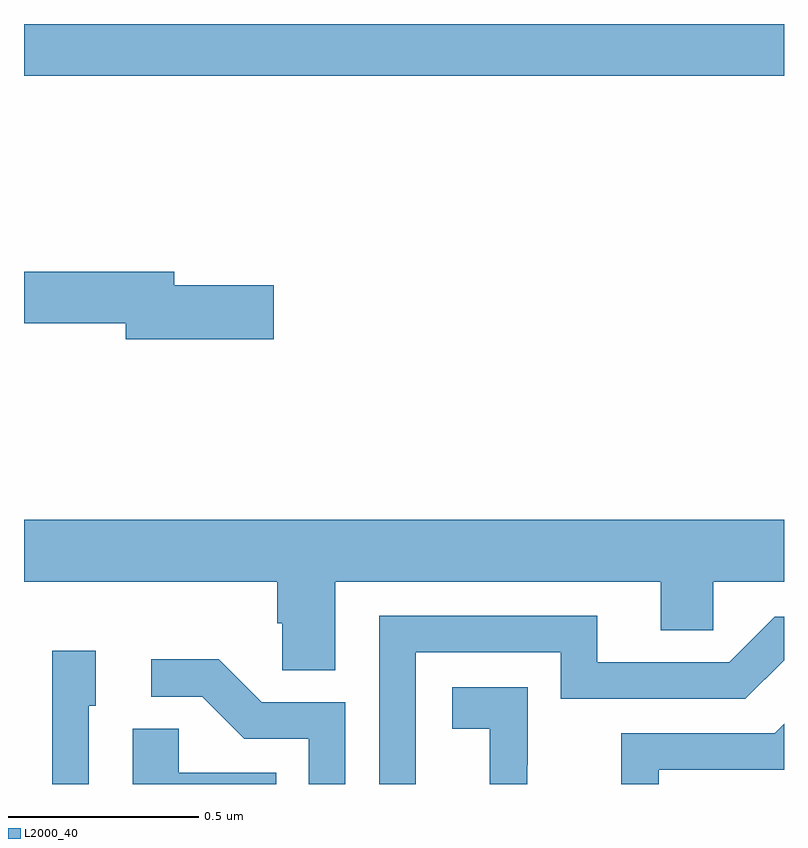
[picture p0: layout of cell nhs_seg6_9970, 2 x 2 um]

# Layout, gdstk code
import gdstk
lib = gdstk.Library(unit=1e-6, precision=1e-09)
def R(c, l, rs):  # rectangles x0, y0, x1, y1
    for r in rs: c.add(gdstk.rectangle(r[:2], r[2:], *l))
def P(c, l, *ps):  # polygons
    for p in ps: c.add(gdstk.Polygon(p, *l))
L2000_40 = (2000, 40)

nhs_seg6_9970 = lib.new_cell('nhs_seg6_9970')
R(nhs_seg6_9970, L2000_40, [(241,919.364,243,919.5)])
P(nhs_seg6_9970, L2000_40, [(241.657,918.812),(241.396,918.812),(241.396,918.848),(241,918.848),(241,918.712),(241.268,918.712),(241.268,918.67),(241.657,918.67)],
  [(241.819,918.032),(242.675,918.032),(242.675,917.905),(242.814,917.905),(242.814,918.032),(243,918.032),(243,918.196),(241,918.196),(241,918.032),(241.667,918.032),(241.667,917.923),(241.68,917.923),(241.68,917.8),(241.819,917.8)],
  [(242.031,917.847),(242.412,917.847),(242.412,917.724),(242.898,917.724),(243,917.826),(243,917.94),(242.976,917.94),(242.856,917.82),(242.509,917.82),(242.509,917.943),(241.935,917.943),(241.935,917.5),(242.031,917.5)],
  [(241.17,917.706),(241.189,917.706),(241.189,917.851),(241.074,917.851),(241.074,917.5),(241.17,917.5)],
  [(241.845,917.715),(241.626,917.715),(241.513,917.828),(241.335,917.828),(241.335,917.73),(241.469,917.73),(241.58,917.619),(241.749,917.619),(241.749,917.5),(241.845,917.5)],
  [(242.324,917.549),(242.325,917.549),(242.325,917.755),(242.127,917.755),(242.127,917.645),(242.225,917.645),(242.225,917.5),(242.324,917.5)],
  [(242.67,917.538),(243,917.538),(243,917.659),(242.975,917.634),(242.572,917.634),(242.572,917.5),(242.67,917.5)],
  [(241.664,917.53),(241.407,917.53),(241.407,917.645),(241.286,917.645),(241.286,917.5),(241.664,917.5)])

lib.write_gds('nhs_seg6_9970.gds')
